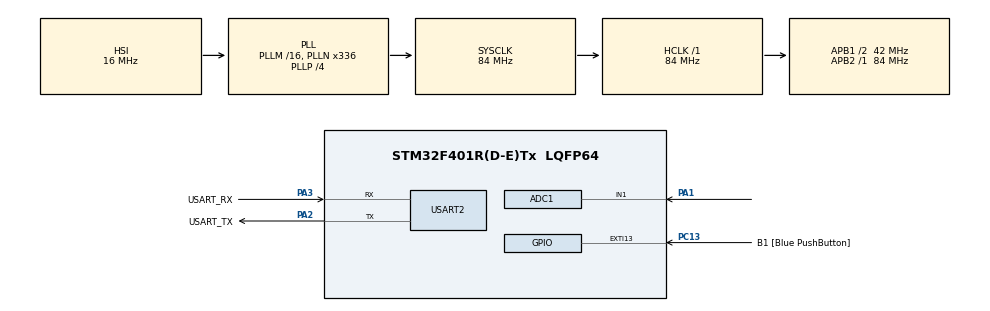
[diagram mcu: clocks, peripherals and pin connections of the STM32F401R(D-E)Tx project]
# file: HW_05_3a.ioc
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ADC1.Channel-0\#ChannelRegularConversion=ADC_CHANNEL_1
ADC1.Channel-4\#ChannelRegularConversion=ADC_CHANNEL_TEMPSENSOR
ADC1.Channel-5\#ChannelRegularConversion=ADC_CHANNEL_VREFINT
ADC1.ContinuousConvMode=DISABLE
ADC1.DMAContinuousRequests=ENABLE
ADC1.DataAlign=ADC_DATAALIGN_RIGHT
ADC1.DiscontinuousConvMode=DISABLE
ADC1.EOCSelection=ADC_EOC_SEQ_CONV
ADC1.ExternalTrigConv=ADC_SOFTWARE_START
ADC1.ExternalTrigConvEdge=ADC_EXTERNALTRIGCONVEDGE_NONE
ADC1.InjNumberOfConversion=0
ADC1.NbrOfConversion=3
ADC1.NbrOfConversionFlag=1
ADC1.Rank-0\#ChannelRegularConversion=1
ADC1.Rank-4\#ChannelRegularConversion=2
ADC1.Rank-5\#ChannelRegularConversion=3
ADC1.SamplingTime-0\#ChannelRegularConversion=ADC_SAMPLETIME_3CYCLES
ADC1.SamplingTime-4\#ChannelRegularConversion=ADC_SAMPLETIME_480CYCLES
ADC1.SamplingTime-5\#ChannelRegularConversion=ADC_SAMPLETIME_480CYCLES
ADC1.master=1
Dma.ADC1.0.Direction=DMA_PERIPH_TO_MEMORY
Dma.ADC1.0.FIFOMode=DMA_FIFOMODE_DISABLE
Dma.ADC1.0.Instance=DMA2_Stream0
Dma.ADC1.0.MemDataAlignment=DMA_MDATAALIGN_HALFWORD
Dma.ADC1.0.MemInc=DMA_MINC_ENABLE
Dma.ADC1.0.Mode=DMA_CIRCULAR
Dma.ADC1.0.PeriphDataAlignment=DMA_PDATAALIGN_HALFWORD
Dma.ADC1.0.PeriphInc=DMA_PINC_DISABLE
Dma.ADC1.0.Priority=DMA_PRIORITY_LOW
Dma.Request0=ADC1
Dma.Request1=USART2_TX
Dma.USART2_TX.1.Direction=DMA_MEMORY_TO_PERIPH
Dma.USART2_TX.1.FIFOMode=DMA_FIFOMODE_DISABLE
Dma.USART2_TX.1.Instance=DMA1_Stream6
Dma.USART2_TX.1.MemDataAlignment=DMA_MDATAALIGN_BYTE
Dma.USART2_TX.1.MemInc=DMA_MINC_ENABLE
Dma.USART2_TX.1.Mode=DMA_NORMAL
Dma.USART2_TX.1.PeriphDataAlignment=DMA_PDATAALIGN_BYTE
Dma.USART2_TX.1.PeriphInc=DMA_PINC_DISABLE
Dma.USART2_TX.1.Priority=DMA_PRIORITY_LOW
Mcu.Family=STM32F4
Mcu.Name=STM32F401R(D-E)Tx
Mcu.Package=LQFP64
NVIC.DMA1_Stream6_IRQn=true\:0\:0\:false\:false\:true\:false\:true\:true
NVIC.DMA2_Stream0_IRQn=true\:0\:0\:false\:false\:true\:false\:true\:true
NVIC.PriorityGroup=NVIC_PRIORITYGROUP_0
NVIC.USART2_IRQn=true\:0\:0\:false\:false\:true\:true\:true\:true
PA1.Signal=ADCx_IN1
PA13.GPIO_Label=TMS
PA13.Mode=Serial_Wire
PA13.Signal=SYS_JTMS-SWDIO
PA14.GPIO_Label=TCK
PA14.Mode=Serial_Wire
PA14.Signal=SYS_JTCK-SWCLK
PA2.GPIO_Label=USART_TX
PA2.GPIO_Mode=GPIO_MODE_AF_PP
PA2.GPIO_PuPd=GPIO_NOPULL
PA2.GPIO_Speed=GPIO_SPEED_FREQ_LOW
PA2.Mode=Asynchronous
PA2.Signal=USART2_TX
PA3.GPIO_Label=USART_RX
PA3.GPIO_Mode=GPIO_MODE_AF_PP
PA3.GPIO_PuPd=GPIO_NOPULL
PA3.GPIO_Speed=GPIO_SPEED_FREQ_LOW
PA3.Mode=Asynchronous
PA3.Signal=USART2_RX
PB3.GPIO_Label=SWO
PB3.Signal=SYS_JTDO-SWO
PC13-ANTI_TAMP.GPIO_Label=B1 [Blue PushButton]
PC13-ANTI_TAMP.GPIO_ModeDefaultEXTI=GPIO_MODE_IT_FALLING
PC13-ANTI_TAMP.GPIO_PuPd=GPIO_NOPULL
PC13-ANTI_TAMP.Signal=GPXTI13
PC14-OSC32_IN.Mode=LSE-External-Oscillator
PC14-OSC32_IN.Signal=RCC_OSC32_IN
PC15-OSC32_OUT.Mode=LSE-External-Oscillator
PC15-OSC32_OUT.Signal=RCC_OSC32_OUT
PH0\ -\ OSC_IN.Mode=HSE-External-Clock-Source
PH0\ -\ OSC_IN.Signal=RCC_OSC_IN
PH1\ -\ OSC_OUT.Mode=HSE-External-Clock-Source
PH1\ -\ OSC_OUT.Signal=RCC_OSC_OUT
ProjectManager.HeapSize=0x200
ProjectManager.StackSize=0x400
ProjectManager.TargetToolchain=STM32CubeIDE
RCC.48MHZClocksFreq_Value=48000000
RCC.AHBFreq_Value=84000000
RCC.APB1CLKDivider=RCC_HCLK_DIV2
RCC.APB1Freq_Value=42000000
RCC.APB1TimFreq_Value=84000000
RCC.APB2Freq_Value=84000000
RCC.APB2TimFreq_Value=84000000
RCC.CortexFreq_Value=84000000
RCC.HCLKFreq_Value=84000000
RCC.HSE_VALUE=8000000
RCC.HSI_VALUE=16000000
RCC.PLLN=336
RCC.PLLP=RCC_PLLP_DIV4
RCC.PLLQ=7
RCC.SYSCLKFreq_VALUE=84000000
RCC.SYSCLKSource=RCC_SYSCLKSOURCE_PLLCLK
RCC.VCOOutputFreq_Value=336000000
SH.ADCx_IN1.0=ADC1_IN1,IN1
USART2.VirtualMode=VM_ASYNC
VP_ADC1_TempSens_Input.Mode=IN-TempSens
VP_ADC1_Vref_Input.Mode=IN-Vrefint
board=NUCLEO-F401RE

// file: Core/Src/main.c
/* USER CODE BEGIN Header */
/**
  ******************************************************************************
  * @file           : main.c
  * @brief          : Main program body
  ******************************************************************************
  * @attention
  *
  * Copyright (c) 2023 STMicroelectronics.
  * All rights reserved.
  *
  * This software is licensed under terms that can be found in the LICENSE file
  * in the root directory of this software component.
  * If no LICENSE file comes with this software, it is provided AS-IS.
  *
  ******************************************************************************
  */
/* USER CODE END Header */
#include "main.h"

/* USER CODE BEGIN Includes */
#include "stdio.h"
/* USER CODE END Includes */

/* USER CODE BEGIN PD */
#define V25 0.76
#define VMAX 3.3
#define AVG_SLOPE 0.0025
/* USER CODE END PD */

ADC_HandleTypeDef hadc1;
DMA_HandleTypeDef hdma_adc1;

UART_HandleTypeDef huart2;
DMA_HandleTypeDef hdma_usart2_tx;

/* USER CODE BEGIN PV */
uint16_t adc_val[3];
char buff[80];
/* USER CODE END PV */

void SystemClock_Config(void);
static void MX_GPIO_Init(void);
static void MX_DMA_Init(void);
static void MX_USART2_UART_Init(void);
static void MX_ADC1_Init(void);
/* USER CODE BEGIN PFP */
void HAL_ADC_ConvCpltCallback(ADC_HandleTypeDef *hadc){

	//convert the ADC value from the potentiometer to voltage
	float pot = (adc_val[0]*VMAX)/4095;
	//convert the ADC value from the T sensor to voltage
	float temp = 25 + ( ( ( (adc_val[1]*VMAX)/4095) - V25 ) / AVG_SLOPE);
	//convert the ADC value from the internal reference to voltage
	float ref = (adc_val[2]*VMAX)/4095;

	//print into a buffer and send through UART with DMA
	int length = snprintf(buff, sizeof(buff),"Potentiometer: %.2f V , Temperature: %.2f C , Vref: %.2f V \n",pot,temp,ref);

	if(HAL_UART_Transmit_DMA(&huart2, (uint8_t*) buff, length) != HAL_OK)
		Error_Handler();
}
/* USER CODE END PFP */

int main(void)
{

  /* MCU Configuration--------------------------------------------------------*/

  /* Reset of all peripherals, Initializes the Flash interface and the Systick. */
  HAL_Init();

  /* Configure the system clock */
  SystemClock_Config();

  /* USER CODE BEGIN SysInit */

  //start the ADC in interrupt mode

  /* USER CODE END SysInit */

  /* Initialize all configured peripherals */
  MX_GPIO_Init();
  MX_DMA_Init();
  MX_USART2_UART_Init();
  MX_ADC1_Init();

  /* Infinite loop */
  /* USER CODE BEGIN WHILE */
  while (1)
  {
	//start the ADC in DMA mode
	if(HAL_ADC_Start_DMA(&hadc1,(uint32_t*)adc_val,3) != HAL_OK)
		Error_Handler();
    //delay between acquisitions
    HAL_Delay(1000);
    /* USER CODE END WHILE */

  }
}

void SystemClock_Config(void)
{
  RCC_OscInitTypeDef RCC_OscInitStruct = {0};
  RCC_ClkInitTypeDef RCC_ClkInitStruct = {0};

  /** Configure the main internal regulator output voltage
  */
  __HAL_RCC_PWR_CLK_ENABLE();
  __HAL_PWR_VOLTAGESCALING_CONFIG(PWR_REGULATOR_VOLTAGE_SCALE2);

  /** Initializes the RCC Oscillators according to the specified parameters
  * in the RCC_OscInitTypeDef structure.
  */
  RCC_OscInitStruct.OscillatorType = RCC_OSCILLATORTYPE_HSI;
  RCC_OscInitStruct.HSIState = RCC_HSI_ON;
  RCC_OscInitStruct.HSICalibrationValue = RCC_HSICALIBRATION_DEFAULT;
  RCC_OscInitStruct.PLL.PLLState = RCC_PLL_ON;
  RCC_OscInitStruct.PLL.PLLSource = RCC_PLLSOURCE_HSI;
  RCC_OscInitStruct.PLL.PLLM = 16;
  RCC_OscInitStruct.PLL.PLLN = 336;
  RCC_OscInitStruct.PLL.PLLP = RCC_PLLP_DIV4;
  RCC_OscInitStruct.PLL.PLLQ = 7;
  if (HAL_RCC_OscConfig(&RCC_OscInitStruct) != HAL_OK)
  {
    Error_Handler();
  }

  /** Initializes the CPU, AHB and APB buses clocks
  */
  RCC_ClkInitStruct.ClockType = RCC_CLOCKTYPE_HCLK|RCC_CLOCKTYPE_SYSCLK
                              |RCC_CLOCKTYPE_PCLK1|RCC_CLOCKTYPE_PCLK2;
  RCC_ClkInitStruct.SYSCLKSource = RCC_SYSCLKSOURCE_PLLCLK;
  RCC_ClkInitStruct.AHBCLKDivider = RCC_SYSCLK_DIV1;
  RCC_ClkInitStruct.APB1CLKDivider = RCC_HCLK_DIV2;
  RCC_ClkInitStruct.APB2CLKDivider = RCC_HCLK_DIV1;

  if (HAL_RCC_ClockConfig(&RCC_ClkInitStruct, FLASH_LATENCY_2) != HAL_OK)
  {
    Error_Handler();
  }
}

static void MX_ADC1_Init(void)
{

  ADC_ChannelConfTypeDef sConfig = {0};

  /** Configure the global features of the ADC (Clock, Resolution, Data Alignment and number of conversion)
  */
  hadc1.Instance = ADC1;
  hadc1.Init.ClockPrescaler = ADC_CLOCK_SYNC_PCLK_DIV4;
  hadc1.Init.Resolution = ADC_RESOLUTION_12B;
  hadc1.Init.ScanConvMode = ENABLE;
  hadc1.Init.ContinuousConvMode = DISABLE;
  hadc1.Init.DiscontinuousConvMode = DISABLE;
  hadc1.Init.ExternalTrigConvEdge = ADC_EXTERNALTRIGCONVEDGE_NONE;
  hadc1.Init.ExternalTrigConv = ADC_SOFTWARE_START;
  hadc1.Init.DataAlign = ADC_DATAALIGN_RIGHT;
  hadc1.Init.NbrOfConversion = 3;
  hadc1.Init.DMAContinuousRequests = ENABLE;
  hadc1.Init.EOCSelection = ADC_EOC_SEQ_CONV;
  if (HAL_ADC_Init(&hadc1) != HAL_OK)
  {
    Error_Handler();
  }

  /** Configure for the selected ADC regular channel its corresponding rank in the sequencer and its sample time.
  */
  sConfig.Channel = ADC_CHANNEL_1;
  sConfig.Rank = 1;
  sConfig.SamplingTime = ADC_SAMPLETIME_3CYCLES;
  if (HAL_ADC_ConfigChannel(&hadc1, &sConfig) != HAL_OK)
  {
    Error_Handler();
  }

  /** Configure for the selected ADC regular channel its corresponding rank in the sequencer and its sample time.
  */
  sConfig.Channel = ADC_CHANNEL_TEMPSENSOR;
  sConfig.Rank = 2;
  sConfig.SamplingTime = ADC_SAMPLETIME_480CYCLES;
  if (HAL_ADC_ConfigChannel(&hadc1, &sConfig) != HAL_OK)
  {
    Error_Handler();
  }

  /** Configure for the selected ADC regular channel its corresponding rank in the sequencer and its sample time.
  */
  sConfig.Channel = ADC_CHANNEL_VREFINT;
  sConfig.Rank = 3;
  if (HAL_ADC_ConfigChannel(&hadc1, &sConfig) != HAL_OK)
  {
    Error_Handler();
  }

}

static void MX_USART2_UART_Init(void)
{

  huart2.Instance = USART2;
  huart2.Init.BaudRate = 115200;
  huart2.Init.WordLength = UART_WORDLENGTH_8B;
  huart2.Init.StopBits = UART_STOPBITS_1;
  huart2.Init.Parity = UART_PARITY_NONE;
  huart2.Init.Mode = UART_MODE_TX_RX;
  huart2.Init.HwFlowCtl = UART_HWCONTROL_NONE;
  huart2.Init.OverSampling = UART_OVERSAMPLING_16;
  if (HAL_UART_Init(&huart2) != HAL_OK)
  {
    Error_Handler();
  }

}

static void MX_DMA_Init(void)
{

  /* DMA controller clock enable */
  __HAL_RCC_DMA2_CLK_ENABLE();
  __HAL_RCC_DMA1_CLK_ENABLE();

  /* DMA interrupt init */
  /* DMA1_Stream6_IRQn interrupt configuration */
  HAL_NVIC_SetPriority(DMA1_Stream6_IRQn, 0, 0);
  HAL_NVIC_EnableIRQ(DMA1_Stream6_IRQn);
  /* DMA2_Stream0_IRQn interrupt configuration */
  HAL_NVIC_SetPriority(DMA2_Stream0_IRQn, 0, 0);
  HAL_NVIC_EnableIRQ(DMA2_Stream0_IRQn);

}

static void MX_GPIO_Init(void)
{
  GPIO_InitTypeDef GPIO_InitStruct = {0};

  /* GPIO Ports Clock Enable */
  __HAL_RCC_GPIOC_CLK_ENABLE();
  __HAL_RCC_GPIOH_CLK_ENABLE();
  __HAL_RCC_GPIOA_CLK_ENABLE();
  __HAL_RCC_GPIOB_CLK_ENABLE();

  /*Configure GPIO pin : B1_Pin */
  GPIO_InitStruct.Pin = B1_Pin;
  GPIO_InitStruct.Mode = GPIO_MODE_IT_FALLING;
  GPIO_InitStruct.Pull = GPIO_NOPULL;
  HAL_GPIO_Init(B1_GPIO_Port, &GPIO_InitStruct);

}

void Error_Handler(void)
{
  __disable_irq();
  while (1)
  {
  }
}
